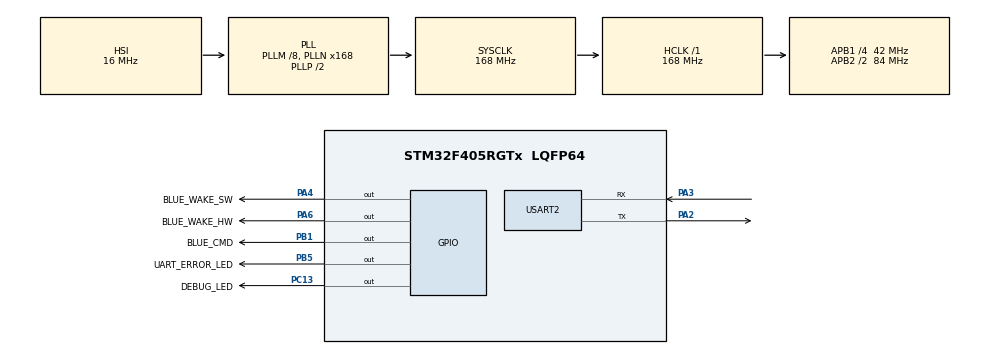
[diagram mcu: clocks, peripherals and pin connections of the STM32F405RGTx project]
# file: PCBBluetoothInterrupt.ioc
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Mcu.Family=STM32F4
Mcu.Name=STM32F405RGTx
Mcu.Package=LQFP64
NVIC.PriorityGroup=NVIC_PRIORITYGROUP_4
NVIC.TIM6_DAC_IRQn=true\:0\:0\:false\:false\:true
NVIC.USART2_IRQn=true\:0\:0\:false\:false\:true
PA13.Mode=JTAG_5_pins
PA13.Signal=SYS_JTMS-SWDIO
PA14.Mode=JTAG_5_pins
PA14.Signal=SYS_JTCK-SWCLK
PA15.Mode=JTAG_5_pins
PA15.Signal=SYS_JTDI
PA2.Mode=Asynchronous
PA2.Signal=USART2_TX
PA3.Mode=Asynchronous
PA3.Signal=USART2_RX
PA4.GPIO_Label=BLUE_WAKE_SW
PA4.Signal=GPIO_Output
PA6.GPIO_Label=BLUE_WAKE_HW
PA6.Signal=GPIO_Output
PB1.GPIO_Label=BLUE_CMD
PB1.Signal=GPIO_Output
PB3.Mode=JTAG_5_pins
PB3.Signal=SYS_JTDO-SWO
PB4.Mode=JTAG_5_pins
PB4.Signal=SYS_JTRST
PB5.GPIO_Label=UART_ERROR_LED
PB5.Signal=GPIO_Output
PC13-ANTI_TAMP.GPIO_Label=DEBUG_LED
PC13-ANTI_TAMP.Signal=GPIO_Output
ProjectManager.HeapSize=0x200
ProjectManager.StackSize=0x400
ProjectManager.TargetToolchain=SW4STM32
RCC.48MHZClocksFreq_Value=84000000
RCC.AHBFreq_Value=168000000
RCC.APB1CLKDivider=RCC_HCLK_DIV4
RCC.APB1Freq_Value=42000000
RCC.APB1TimFreq_Value=84000000
RCC.APB2CLKDivider=RCC_HCLK_DIV2
RCC.APB2Freq_Value=84000000
RCC.APB2TimFreq_Value=168000000
RCC.CortexFreq_Value=168000000
RCC.HCLKFreq_Value=168000000
RCC.HSE_VALUE=25000000
RCC.HSI_VALUE=16000000
RCC.LSE_VALUE=32768
RCC.PLLM=8
RCC.PLLN=168
RCC.SYSCLKFreq_VALUE=168000000
RCC.SYSCLKSource=RCC_SYSCLKSOURCE_PLLCLK
RCC.VCOOutputFreq_Value=336000000
TIM6.Period=499
TIM6.Prescaler=48000
VP_TIM6_VS_ClockSourceINT.Mode=Enable_Timer
board=PCBBluetoothInterrupt

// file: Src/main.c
/**
  ******************************************************************************
  * File Name          : main.c
  * Description        : Main program body
  ******************************************************************************
  *
  * COPYRIGHT(c) 2016 STMicroelectronics
  *
  * Redistribution and use in source and binary forms, with or without modification,
  * are permitted provided that the following conditions are met:
  *   1. Redistributions of source code must retain the above copyright notice,
  *      this list of conditions and the following disclaimer.
  *   2. Redistributions in binary form must reproduce the above copyright notice,
  *      this list of conditions and the following disclaimer in the documentation
  *      and/or other materials provided with the distribution.
  *   3. Neither the name of STMicroelectronics nor the names of its contributors
  *      may be used to endorse or promote products derived from this software
  *      without specific prior written permission.
  *
  * THIS SOFTWARE IS PROVIDED BY THE COPYRIGHT HOLDERS AND CONTRIBUTORS "AS IS"
  * AND ANY EXPRESS OR IMPLIED WARRANTIES, INCLUDING, BUT NOT LIMITED TO, THE
  * IMPLIED WARRANTIES OF MERCHANTABILITY AND FITNESS FOR A PARTICULAR PURPOSE ARE
  * DISCLAIMED. IN NO EVENT SHALL THE COPYRIGHT HOLDER OR CONTRIBUTORS BE LIABLE
  * FOR ANY DIRECT, INDIRECT, INCIDENTAL, SPECIAL, EXEMPLARY, OR CONSEQUENTIAL
  * DAMAGES (INCLUDING, BUT NOT LIMITED TO, PROCUREMENT OF SUBSTITUTE GOODS OR
  * SERVICES; LOSS OF USE, DATA, OR PROFITS; OR BUSINESS INTERRUPTION) HOWEVER
  * CAUSED AND ON ANY THEORY OF LIABILITY, WHETHER IN CONTRACT, STRICT LIABILITY,
  * OR TORT (INCLUDING NEGLIGENCE OR OTHERWISE) ARISING IN ANY WAY OUT OF THE USE
  * OF THIS SOFTWARE, EVEN IF ADVISED OF THE POSSIBILITY OF SUCH DAMAGE.
  *
  ******************************************************************************
  */
#include "main.h"
#include "stm32f4xx_hal.h"

TIM_HandleTypeDef htim6;

UART_HandleTypeDef huart2;

/* USER CODE BEGIN PV */
/* Private variables ---------------------------------------------------------*/
char bluetoothTxBuffer[100] = "R,1\r\n";
uint8_t bluetoothRxBuffer[2] = {0};

uint8_t commandBuffer[30] = {0};
uint8_t commandBufferIndex = 0;
volatile uint8_t commandReceiveCompleted = 0;

uint8_t currentBatteryLevel = 0;
volatile uint8_t changeBatteryService = 0;
/* USER CODE END PV */

void SystemClock_Config(void);
void Error_Handler(void);
static void MX_GPIO_Init(void);
static void MX_USART2_UART_Init(void);
static void MX_TIM6_Init(void);

/* USER CODE BEGIN PFP */
/* Private function prototypes -----------------------------------------------*/

/* USER CODE END PFP */

/* USER CODE BEGIN 0 */
void HAL_TIM_PeriodElapsedCallback(TIM_HandleTypeDef *htim)
{
	if (htim->Instance == TIM6) {
		HAL_GPIO_TogglePin(UART_ERROR_LED_GPIO_Port, UART_ERROR_LED_Pin);
	}
}

void HAL_UART_RxCpltCallback (UART_HandleTypeDef* huart) {
	if (huart->Instance == USART2) {
		// If we are receiving a new command, zero out its buffer
		if (commandBufferIndex == 0) for (uint8_t i = 0; i < 30; i++) commandBuffer[i] = 0;

		// Check if we have received new-line - end of command
		if (commandReceiveCompleted == 0 && bluetoothRxBuffer[0] != '\n') {
			// Add the received character to the end of the commandBuffer
			commandBuffer[commandBufferIndex++] = bluetoothRxBuffer[0];
		} else if (bluetoothRxBuffer[0] == '\n') {
			commandBufferIndex = 0;
			commandReceiveCompleted = 1;
		}
	}
	HAL_UART_Receive_IT(&huart2, bluetoothRxBuffer, 1);
}

void HAL_UART_ErrorCallback(UART_HandleTypeDef* huart) {
	// HAL_GPIO_TogglePin(UART_ERROR_LED_GPIO_Port, UART_ERROR_LED_Pin);
	HAL_UART_Receive_IT(&huart2, bluetoothRxBuffer, 1);
}

void BLUE_Process_Command(uint8_t* command) {
	// We are only interested in the WV,001C command
	if (command[0] == 'W' && command[1] == 'V') {
		if (command[5] == '1' && command[6] == '8') {
			GPIO_PinState stateToSet = GPIO_PIN_SET;
			if (command[8] == '0' && command[9] == '0') {
				stateToSet = GPIO_PIN_RESET;
			}
			HAL_GPIO_WritePin(DEBUG_LED_GPIO_Port, DEBUG_LED_Pin, stateToSet);
		}
	}

	commandReceiveCompleted = 0;
}
/* USER CODE END 0 */

int main(void)
{

  /* MCU Configuration----------------------------------------------------------*/

  /* Reset of all peripherals, Initializes the Flash interface and the Systick. */
  HAL_Init();

  /* Configure the system clock */
  SystemClock_Config();

  /* Initialize all configured peripherals */
  MX_GPIO_Init();
  MX_USART2_UART_Init();
  MX_TIM6_Init();

  /* USER CODE BEGIN 2 */
  // Wake up the RN4020
  HAL_Delay(200);
  HAL_GPIO_WritePin(BLUE_WAKE_HW_GPIO_Port, BLUE_WAKE_HW_Pin, GPIO_PIN_SET);
  HAL_Delay(200);
  HAL_GPIO_WritePin(BLUE_WAKE_SW_GPIO_Port, BLUE_WAKE_SW_Pin, GPIO_PIN_SET);
  HAL_Delay(300);

  // Restart RN4020 module
  HAL_UART_Transmit(&huart2, (uint8_t *) bluetoothTxBuffer, 5, 10);

  // After restarting, will automatically advertise if configured with SR,20000000
  HAL_Delay(3000);

  // Set UART receive on an interrupt
  HAL_UART_Receive_IT(&huart2, bluetoothRxBuffer, 1);

  // Start timer for Debug LED
  HAL_TIM_Base_Start_IT(&htim6);
  /* USER CODE END 2 */

  /* Infinite loop */
  while (1)
  {

  /* USER CODE BEGIN 3 */
	  if (commandReceiveCompleted) BLUE_Process_Command(commandBuffer);
  }
  /* USER CODE END 3 */

}

/** System Clock Configuration
*/
void SystemClock_Config(void)
{

  RCC_OscInitTypeDef RCC_OscInitStruct;
  RCC_ClkInitTypeDef RCC_ClkInitStruct;

    /**Configure the main internal regulator output voltage
    */
  __HAL_RCC_PWR_CLK_ENABLE();

  __HAL_PWR_VOLTAGESCALING_CONFIG(PWR_REGULATOR_VOLTAGE_SCALE1);

    /**Initializes the CPU, AHB and APB busses clocks
    */
  RCC_OscInitStruct.OscillatorType = RCC_OSCILLATORTYPE_HSI;
  RCC_OscInitStruct.HSIState = RCC_HSI_ON;
  RCC_OscInitStruct.HSICalibrationValue = 16;
  RCC_OscInitStruct.PLL.PLLState = RCC_PLL_ON;
  RCC_OscInitStruct.PLL.PLLSource = RCC_PLLSOURCE_HSI;
  RCC_OscInitStruct.PLL.PLLM = 8;
  RCC_OscInitStruct.PLL.PLLN = 168;
  RCC_OscInitStruct.PLL.PLLP = RCC_PLLP_DIV2;
  RCC_OscInitStruct.PLL.PLLQ = 4;
  if (HAL_RCC_OscConfig(&RCC_OscInitStruct) != HAL_OK)
  {
    Error_Handler();
  }

    /**Initializes the CPU, AHB and APB busses clocks
    */
  RCC_ClkInitStruct.ClockType = RCC_CLOCKTYPE_HCLK|RCC_CLOCKTYPE_SYSCLK
                              |RCC_CLOCKTYPE_PCLK1|RCC_CLOCKTYPE_PCLK2;
  RCC_ClkInitStruct.SYSCLKSource = RCC_SYSCLKSOURCE_PLLCLK;
  RCC_ClkInitStruct.AHBCLKDivider = RCC_SYSCLK_DIV1;
  RCC_ClkInitStruct.APB1CLKDivider = RCC_HCLK_DIV4;
  RCC_ClkInitStruct.APB2CLKDivider = RCC_HCLK_DIV2;

  if (HAL_RCC_ClockConfig(&RCC_ClkInitStruct, FLASH_LATENCY_5) != HAL_OK)
  {
    Error_Handler();
  }

    /**Configure the Systick interrupt time
    */
  HAL_SYSTICK_Config(HAL_RCC_GetHCLKFreq()/1000);

    /**Configure the Systick
    */
  HAL_SYSTICK_CLKSourceConfig(SYSTICK_CLKSOURCE_HCLK);

  /* SysTick_IRQn interrupt configuration */
  HAL_NVIC_SetPriority(SysTick_IRQn, 0, 0);
}

/* TIM6 init function */
static void MX_TIM6_Init(void)
{

  TIM_MasterConfigTypeDef sMasterConfig;

  htim6.Instance = TIM6;
  htim6.Init.Prescaler = 48000;
  htim6.Init.CounterMode = TIM_COUNTERMODE_UP;
  htim6.Init.Period = 499;
  if (HAL_TIM_Base_Init(&htim6) != HAL_OK)
  {
    Error_Handler();
  }

  sMasterConfig.MasterOutputTrigger = TIM_TRGO_RESET;
  sMasterConfig.MasterSlaveMode = TIM_MASTERSLAVEMODE_DISABLE;
  if (HAL_TIMEx_MasterConfigSynchronization(&htim6, &sMasterConfig) != HAL_OK)
  {
    Error_Handler();
  }

}

/* USART2 init function */
static void MX_USART2_UART_Init(void)
{

  huart2.Instance = USART2;
  huart2.Init.BaudRate = 115200;
  huart2.Init.WordLength = UART_WORDLENGTH_8B;
  huart2.Init.StopBits = UART_STOPBITS_1;
  huart2.Init.Parity = UART_PARITY_NONE;
  huart2.Init.Mode = UART_MODE_TX_RX;
  huart2.Init.HwFlowCtl = UART_HWCONTROL_NONE;
  huart2.Init.OverSampling = UART_OVERSAMPLING_16;
  if (HAL_UART_Init(&huart2) != HAL_OK)
  {
    Error_Handler();
  }

}

/** Configure pins as
        * Analog
        * Input
        * Output
        * EVENT_OUT
        * EXTI
*/
static void MX_GPIO_Init(void)
{

  GPIO_InitTypeDef GPIO_InitStruct;

  /* GPIO Ports Clock Enable */
  __HAL_RCC_GPIOC_CLK_ENABLE();
  __HAL_RCC_GPIOA_CLK_ENABLE();
  __HAL_RCC_GPIOB_CLK_ENABLE();

  /*Configure GPIO pin Output Level */
  HAL_GPIO_WritePin(DEBUG_LED_GPIO_Port, DEBUG_LED_Pin, GPIO_PIN_RESET);

  /*Configure GPIO pin Output Level */
  HAL_GPIO_WritePin(GPIOA, BLUE_WAKE_SW_Pin|BLUE_WAKE_HW_Pin, GPIO_PIN_RESET);

  /*Configure GPIO pin Output Level */
  HAL_GPIO_WritePin(GPIOB, BLUE_CMD_Pin|UART_ERROR_LED_Pin, GPIO_PIN_RESET);

  /*Configure GPIO pin : DEBUG_LED_Pin */
  GPIO_InitStruct.Pin = DEBUG_LED_Pin;
  GPIO_InitStruct.Mode = GPIO_MODE_OUTPUT_PP;
  GPIO_InitStruct.Pull = GPIO_NOPULL;
  GPIO_InitStruct.Speed = GPIO_SPEED_FREQ_LOW;
  HAL_GPIO_Init(DEBUG_LED_GPIO_Port, &GPIO_InitStruct);

  /*Configure GPIO pins : BLUE_WAKE_SW_Pin BLUE_WAKE_HW_Pin */
  GPIO_InitStruct.Pin = BLUE_WAKE_SW_Pin|BLUE_WAKE_HW_Pin;
  GPIO_InitStruct.Mode = GPIO_MODE_OUTPUT_PP;
  GPIO_InitStruct.Pull = GPIO_NOPULL;
  GPIO_InitStruct.Speed = GPIO_SPEED_FREQ_LOW;
  HAL_GPIO_Init(GPIOA, &GPIO_InitStruct);

  /*Configure GPIO pins : BLUE_CMD_Pin UART_ERROR_LED_Pin */
  GPIO_InitStruct.Pin = BLUE_CMD_Pin|UART_ERROR_LED_Pin;
  GPIO_InitStruct.Mode = GPIO_MODE_OUTPUT_PP;
  GPIO_InitStruct.Pull = GPIO_NOPULL;
  GPIO_InitStruct.Speed = GPIO_SPEED_FREQ_LOW;
  HAL_GPIO_Init(GPIOB, &GPIO_InitStruct);

}

void Error_Handler(void)
{
  while(1)
  {
  }
}

/************************ (C) COPYRIGHT STMicroelectronics *****END OF FILE****/
